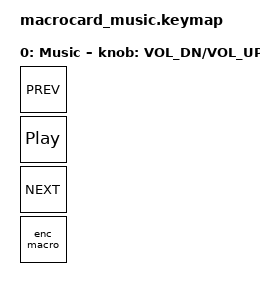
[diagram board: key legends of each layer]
#include <behaviors/rgbled_widget.dtsi>
#include <behaviors.dtsi>
#include <dt-bindings/zmk/keys.h>
#include <dt-bindings/zmk/bt.h>

/ {
    behaviors {
        // Hold/tap behavior for encoder switch - tap for mute, hold for BT clear
        enc_macro: enc_macro {
            compatible = "zmk,behavior-macro";
            #binding-cells = <0>;
            bindings = <&macro_press &bt BT_CLR>,
                       <&macro_tap &kp C_MUTE>,
                       <&macro_release &bt BT_CLR>;
            tap-ms = <1000>;
            wait-ms = <1000>;
        };
    };

    keymap {
        compatible = "zmk,keymap";

        default_layer {
            display-name = "Music";
            bindings = <
                &kp C_PREV      // Switch 1 - Previous track
                &kp C_PP        // Switch 2 - Play/Pause
                &kp C_NEXT      // Switch 3 - Next track
                &enc_macro      // Encoder switch - tap for mute, hold for BT clear
            >;
            
            sensor-bindings = <&inc_dec_kp C_VOL_DN C_VOL_UP>;
        };
    };
};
